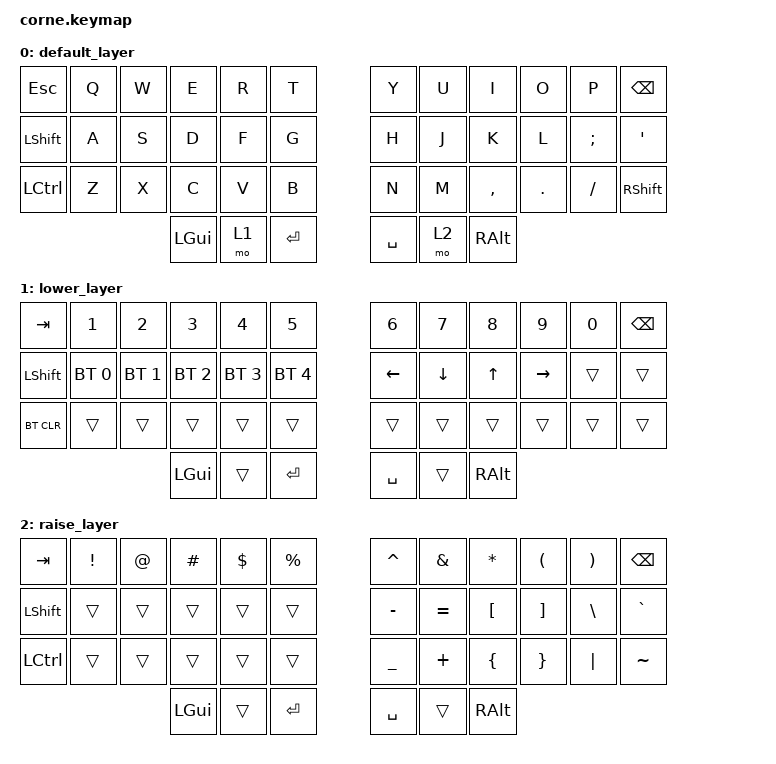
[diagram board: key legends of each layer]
/*
 * Copyright (c) 2020 The ZMK Contributors
 *
 * SPDX-License-Identifier: MIT
 */

#include <behaviors.dtsi>
#include <dt-bindings/zmk/keys.h>
#include <dt-bindings/zmk/bt.h>
/ {
        keymap {
                compatible = "zmk,keymap";

                default_layer {
// -----------------------------------------------------------------------------------------
// |  ESC |  Q  |  W  |  E  |  R  |  T  |   |  Y  |  U   |  I  |  O  |  P  | BSPC |
// | SHFT |  A  |  S  |  D  |  F  |  G  |   |  H  |  J   |  K  |  L  |  ;  |  '   |
// | CTRL |  Z  |  X  |  C  |  V  |  B  |   |  N  |  M   |  ,  |  .  |  /  | SHFT  |
//                    | GUI | LWR | ENT |   | SPC | RSE  | ALT |
                        bindings = <
   &kp ESC   &kp Q &kp W &kp E &kp R &kp T   &kp Y &kp U  &kp I     &kp O   &kp P    &kp BSPC
   &kp LSHFT &kp A &kp S &kp D &kp F &kp G   &kp H &kp J  &kp K     &kp L   &kp SEMI &kp SQT
   &kp LCTRL &kp Z &kp X &kp C &kp V &kp B   &kp N &kp M  &kp COMMA &kp DOT &kp FSLH &kp RSHFT
                  &kp LGUI &mo 1 &kp RET   &kp SPACE &mo 2 &kp RALT
                        >;
                };
                lower_layer {
// -----------------------------------------------------------------------------------------
// |  TAB |  1  |  2  |  3  |  4  |  5  |   |  6  |  7  |  8  |  9  |  0  | BSPC |
// | SHFT | BT1 | BT2 | BT3 | BT4 | BT5 |   | LFT | DWN |  UP | RGT |     |      |
// | BTCLR|     |     |     |     |     |   |     |     |     |     |     |      |
//                    | GUI |     | ENT |   | SPC |     | ALT |
                        bindings = <
   &kp TAB    &kp N1       &kp N2       &kp N3       &kp N4       &kp N5         &kp N6   &kp N7   &kp N8 &kp N9    &kp N0 &kp BSPC
   &kp LSHFT &bt BT_SEL 0 &bt BT_SEL 1 &bt BT_SEL 2 &bt BT_SEL 3 &bt BT_SEL 4   &kp LEFT &kp DOWN &kp UP &kp RIGHT &trans &trans
   &bt BT_CLR  &trans       &trans       &trans       &trans       &trans         &trans   &trans   &trans &trans    &trans &trans
                                    &kp LGUI     &trans       &kp RET      &kp SPACE  &trans   &kp RALT
                        >;
                };

                raise_layer {
// -----------------------------------------------------------------------------------------
// |  TAB |  !  |  @  |  #  |  $  |  %  |   |  ^  |  &  |  *  |  (  |  )  | BSPC |
// | SHFT |     |     |     |     |     |   |  -  |  =  |  [  |  ]  |  \  |  `   |
// | CTRL |     |     |     |     |     |   |  _  |  +  |  {  |  }  | "|" |  ~   |
//                    | GUI |     | ENT |   | SPC |     | ALT |
                        bindings = <
   &kp  TAB  &kp EXCL &kp AT &kp HASH &kp DLLR &kp PRCNT   &kp CARET &kp AMPS  &kp ASTRK &kp LPAR &kp RPAR &kp BSPC
   &kp LSHFT &trans   &trans &trans   &trans   &trans      &kp MINUS &kp EQUAL &kp LBKT  &kp RBKT &kp BSLH &kp GRAVE
   &kp LCTRL &trans   &trans &trans   &trans   &trans      &kp UNDER &kp PLUS  &kp LBRC  &kp RBRC &kp PIPE &kp TILDE
                             &kp LGUI &trans   &kp RET   &kp SPACE   &trans    &kp RALT
                        >;
                };
        };
};
